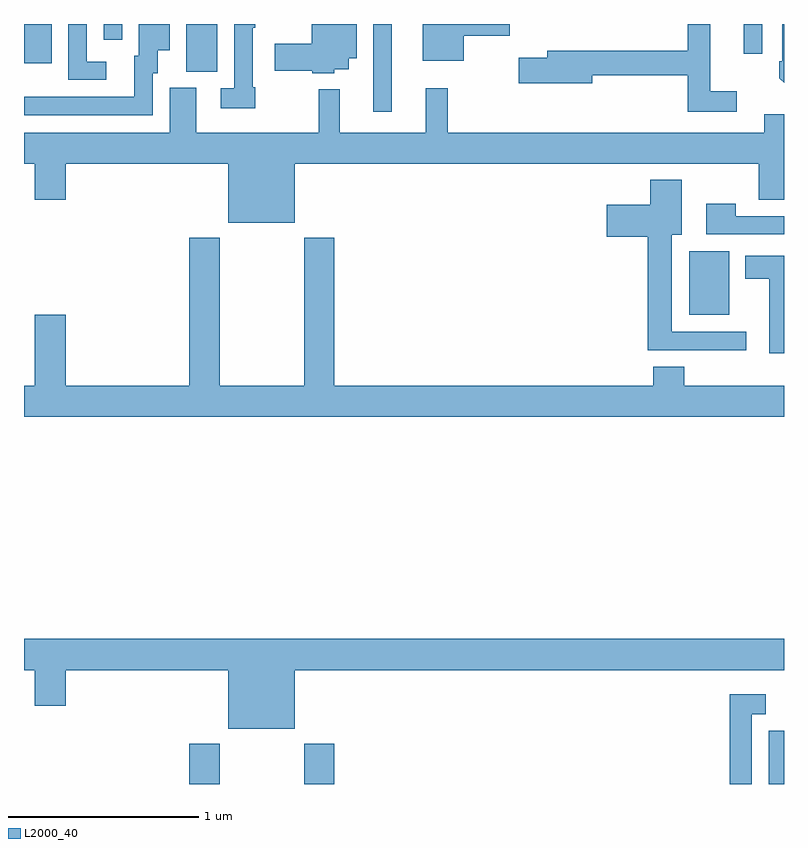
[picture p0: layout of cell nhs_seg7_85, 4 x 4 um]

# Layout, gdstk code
import gdstk
lib = gdstk.Library(unit=1e-6, precision=1e-09)
def R(c, l, rs):  # rectangles x0, y0, x1, y1
    for r in rs: c.add(gdstk.rectangle(r[:2], r[2:], *l))
def P(c, l, *ps):  # polygons
    for p in ps: c.add(gdstk.Polygon(p, *l))
L2000_40 = (2000, 40)

nhs_seg7_85 = lib.new_cell('nhs_seg7_85')
R(nhs_seg7_85, L2000_40, [(117.869,1016,118.029,1016.212), (118.474,1016,118.634,1016.212), (120.92,1016,121,1016.28), (120.5,1018.469,120.712,1018.804), (118.839,1019.538,118.936,1020), (117.854,1019.749,118.018,1020), (117,1019.793,117.145,1020), (120.789,1019.844,120.885,1020), (117.42,1019.916,117.516,1020)])
P(nhs_seg7_85, L2000_40, [(117.678,1019.742),(117.703,1019.742),(117.703,1019.861),(117.766,1019.861),(117.766,1020),(117.605,1020),(117.605,1019.832),(117.581,1019.832),(117.581,1019.616),(117.097,1019.616),(117.097,1019.617),(117,1019.617),(117,1019.52),(117.678,1019.52)],
  [(120.751,1019.647),(120.611,1019.647),(120.611,1020),(120.493,1020),(120.493,1019.858),(119.753,1019.858),(119.753,1019.822),(119.604,1019.822),(119.604,1019.687),(119.992,1019.687),(119.992,1019.73),(120.493,1019.73),(120.493,1019.538),(120.751,1019.538)],
  [(121,1020),(120.99,1020),(120.99,1019.803),(120.975,1019.803),(120.975,1019.715),(121,1019.69)],
  [(118.632,1019.762),(118.708,1019.762),(118.708,1019.819),(118.75,1019.819),(118.75,1020),(118.514,1020),(118.514,1019.897),(118.32,1019.897),(118.32,1019.755),(118.518,1019.755),(118.518,1019.741),(118.632,1019.741)],
  [(117.433,1019.802),(117.33,1019.802),(117.33,1020),(117.234,1020),(117.234,1019.706),(117.433,1019.706)],
  [(118.216,1019.668),(118.203,1019.668),(118.203,1019.98),(118.216,1019.98),(118.216,1020),(118.107,1020),(118.107,1019.661),(118.035,1019.661),(118.035,1019.556),(118.216,1019.556)],
  [(119.314,1019.939),(119.557,1019.939),(119.557,1020),(119.099,1020),(119.099,1019.807),(119.314,1019.807)],
  [(118.426,1019.264),(120.868,1019.264),(120.868,1019.074),(121,1019.074),(121,1019.526),(120.896,1019.526),(120.896,1019.428),(119.231,1019.428),(119.231,1019.662),(119.114,1019.662),(119.114,1019.428),(118.661,1019.428),(118.661,1019.656),(118.551,1019.656),(118.551,1019.428),(117.907,1019.428),(117.907,1019.664),(117.767,1019.664),(117.767,1019.428),(117,1019.428),(117,1019.264),(117.056,1019.264),(117.056,1019.076),(117.22,1019.076),(117.22,1019.264),(118.076,1019.264),(118.076,1018.955),(118.426,1018.955)],
  [(120.802,1018.38),(120.409,1018.38),(120.409,1018.892),(120.463,1018.892),(120.463,1019.179),(120.296,1019.179),(120.296,1019.05),(120.066,1019.05),(120.066,1018.88),(120.284,1018.88),(120.284,1018.283),(120.802,1018.283)],
  [(121,1018.989),(120.747,1018.989),(120.747,1019.053),(120.591,1019.053),(120.591,1018.893),(121,1018.893)],
  [(121,1018.096),(120.476,1018.096),(120.476,1018.195),(120.311,1018.195),(120.311,1018.096),(118.634,1018.096),(118.634,1018.876),(118.474,1018.876),(118.474,1018.096),(118.029,1018.096),(118.029,1018.876),(117.869,1018.876),(117.869,1018.096),(117.22,1018.096),(117.22,1018.471),(117.056,1018.471),(117.056,1018.096),(117,1018.096),(117,1017.932),(121,1017.932)],
  [(121,1018.78),(120.797,1018.78),(120.797,1018.658),(120.923,1018.658),(120.923,1018.268),(121,1018.268)],
  [(118.426,1016.6),(121,1016.6),(121,1016.764),(117,1016.764),(117,1016.6),(117.056,1016.6),(117.056,1016.412),(117.22,1016.412),(117.22,1016.6),(118.076,1016.6),(118.076,1016.291),(118.426,1016.291)],
  [(120.831,1016.367),(120.904,1016.367),(120.904,1016.473),(120.715,1016.473),(120.715,1016),(120.831,1016)])

lib.write_gds('nhs_seg7_85.gds')
